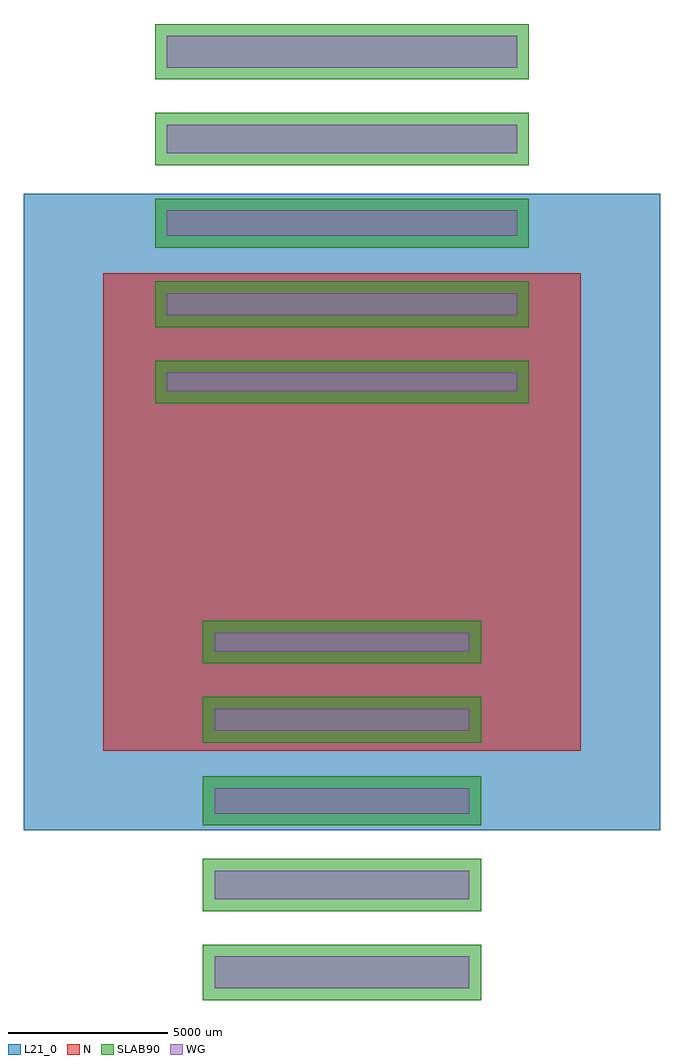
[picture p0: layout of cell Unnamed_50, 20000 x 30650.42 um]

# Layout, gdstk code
import gdstk
lib = gdstk.Library(unit=1e-6, precision=1e-09)
def R(c, l, rs):  # rectangles x0, y0, x1, y1
    for r in rs: c.add(gdstk.rectangle(r[:2], r[2:], *l))
WG = (1, 0)
SLAB90 = (3, 0)
N = (20, 0)
L21_0 = (21, 0)

rectangle_s8742p34_1742_ = lib.new_cell('rectangle_S8742p34_1742_92dfabc6')
R(rectangle_s8742p34_1742_, SLAB90, [(0,0,8742.34,1742.34)])

rectangle_s8000_1000_l1_ = lib.new_cell('rectangle_S8000_1000_L1_a64188b1')
R(rectangle_s8000_1000_l1_, WG, [(0,0,8000,1000)])

rectangle_s8000_900_l1__ = lib.new_cell('rectangle_S8000_900_L1__743eedf8')
R(rectangle_s8000_900_l1__, WG, [(0,0,8000,900)])

rectangle_s8742p34_1542_ = lib.new_cell('rectangle_S8742p34_1542_3cb4d86e')
R(rectangle_s8742p34_1542_, SLAB90, [(0,0,8742.34,1542.34)])

rectangle_s8000_800_l1__ = lib.new_cell('rectangle_S8000_800_L1__9d6789f8')
R(rectangle_s8000_800_l1__, WG, [(0,0,8000,800)])

rectangle_s11742p34_174_ = lib.new_cell('rectangle_S11742p34_174_d1575f04')
R(rectangle_s11742p34_174_, SLAB90, [(0,0,11742.34,1742.34)])

rectangle_s11000_700_l1_ = lib.new_cell('rectangle_S11000_700_L1_ddf4a92d')
R(rectangle_s11000_700_l1_, WG, [(0,0,11000,700)])

rectangle_s11742p34_164_ = lib.new_cell('rectangle_S11742p34_164_6166e50f')
R(rectangle_s11742p34_164_, SLAB90, [(0,0,11742.34,1642.34)])

rectangle_s8742p34_1442_ = lib.new_cell('rectangle_S8742p34_1442_b5d4945f')
R(rectangle_s8742p34_1442_, SLAB90, [(0,0,8742.34,1442.34)])

rectangle_s11000_900_l1_ = lib.new_cell('rectangle_S11000_900_L1_9c1d72c7')
R(rectangle_s11000_900_l1_, WG, [(0,0,11000,900)])

rectangle_s8742p34_1642_ = lib.new_cell('rectangle_S8742p34_1642_40e2523d')
R(rectangle_s8742p34_1642_, SLAB90, [(0,0,8742.34,1642.34)])

rectangle_s8000_700_l1__ = lib.new_cell('rectangle_S8000_700_L1__8f333247')
R(rectangle_s8000_700_l1__, WG, [(0,0,8000,700)])

rectangle_s11742p34_154_ = lib.new_cell('rectangle_S11742p34_154_534265d7')
R(rectangle_s11742p34_154_, SLAB90, [(0,0,11742.34,1542.34)])

rectangle_s8000_600_l1__ = lib.new_cell('rectangle_S8000_600_L1__39d5b34f')
R(rectangle_s8000_600_l1__, WG, [(0,0,8000,600)])

rectangle_s11742p34_144_ = lib.new_cell('rectangle_S11742p34_144_7962ba5a')
R(rectangle_s11742p34_144_, SLAB90, [(0,0,11742.34,1442.34)])

rectangle_s11000_600_l1_ = lib.new_cell('rectangle_S11000_600_L1_89c6ff42')
R(rectangle_s11000_600_l1_, WG, [(0,0,11000,600)])

rectangle_s11742p34_134_ = lib.new_cell('rectangle_S11742p34_134_53d7302a')
R(rectangle_s11742p34_134_, SLAB90, [(0,0,11742.34,1342.34)])

rectangle_s8742p34_1342_ = lib.new_cell('rectangle_S8742p34_1342_f559c29b')
R(rectangle_s8742p34_1342_, SLAB90, [(0,0,8742.34,1342.34)])

rectangle_s11000_800_l1_ = lib.new_cell('rectangle_S11000_800_L1_c1175e7f')
R(rectangle_s11000_800_l1_, WG, [(0,0,11000,800)])

rectangle_s20000_20000__ = lib.new_cell('rectangle_S20000_20000__aa48e1ac')
R(rectangle_s20000_20000__, L21_0, [(0,0,20000,20000)])

rectangle_s15000_15000__ = lib.new_cell('rectangle_S15000_15000__6a6c2047')
R(rectangle_s15000_15000__, N, [(0,0,15000,15000)])

rectangle_s11000_1000_l_ = lib.new_cell('rectangle_S11000_1000_L_7d1c9873')
R(rectangle_s11000_1000_l_, WG, [(0,0,11000,1000)])

unnamed_50 = lib.new_cell('Unnamed_50')
unnamed_50.add(gdstk.Reference(rectangle_s8742p34_1742_, (-4371.17,-15325.21)))
unnamed_50.add(gdstk.Reference(rectangle_s8000_1000_l1_, (-4000,-14954.04)))
unnamed_50.add(gdstk.Reference(rectangle_s8000_900_l1__, (-4000,-12161.7)))
unnamed_50.add(gdstk.Reference(rectangle_s8742p34_1542_, (-4371.17,-9840.53)))
unnamed_50.add(gdstk.Reference(rectangle_s8000_800_l1__, (-4000,-9469.36)))
unnamed_50.add(gdstk.Reference(rectangle_s11742p34_174_, (-5871.17,13582.87)))
unnamed_50.add(gdstk.Reference(rectangle_s11000_700_l1_, (-5500,6177.02)))
unnamed_50.add(gdstk.Reference(rectangle_s11742p34_164_, (-5871.17,10890.53)))
unnamed_50.add(gdstk.Reference(rectangle_s8742p34_1442_, (-4371.17,-7248.19)))
unnamed_50.add(gdstk.Reference(rectangle_s11000_900_l1_, (-5500,11261.7)))
unnamed_50.add(gdstk.Reference(rectangle_s8742p34_1642_, (-4371.17,-12532.87)))
unnamed_50.add(gdstk.Reference(rectangle_s8000_700_l1__, (-4000,-6877.02)))
unnamed_50.add(gdstk.Reference(rectangle_s11742p34_154_, (-5871.17,8298.19)))
unnamed_50.add(gdstk.Reference(rectangle_s8000_600_l1__, (-4000,-4384.68)))
unnamed_50.add(gdstk.Reference(rectangle_s11742p34_144_, (-5871.17,5805.85)))
unnamed_50.add(gdstk.Reference(rectangle_s11000_600_l1_, (-5500,3784.68)))
unnamed_50.add(gdstk.Reference(rectangle_s11742p34_134_, (-5871.17,3413.51)))
unnamed_50.add(gdstk.Reference(rectangle_s8742p34_1342_, (-4371.17,-4755.85)))
unnamed_50.add(gdstk.Reference(rectangle_s11000_800_l1_, (-5500,8669.36)))
unnamed_50.add(gdstk.Reference(rectangle_s20000_20000__, (-10000,-10000)))
unnamed_50.add(gdstk.Reference(rectangle_s15000_15000__, (-7500,-7500)))
unnamed_50.add(gdstk.Reference(rectangle_s11000_1000_l_, (-5500,13954.04)))

lib.write_gds('Unnamed_50.gds')
